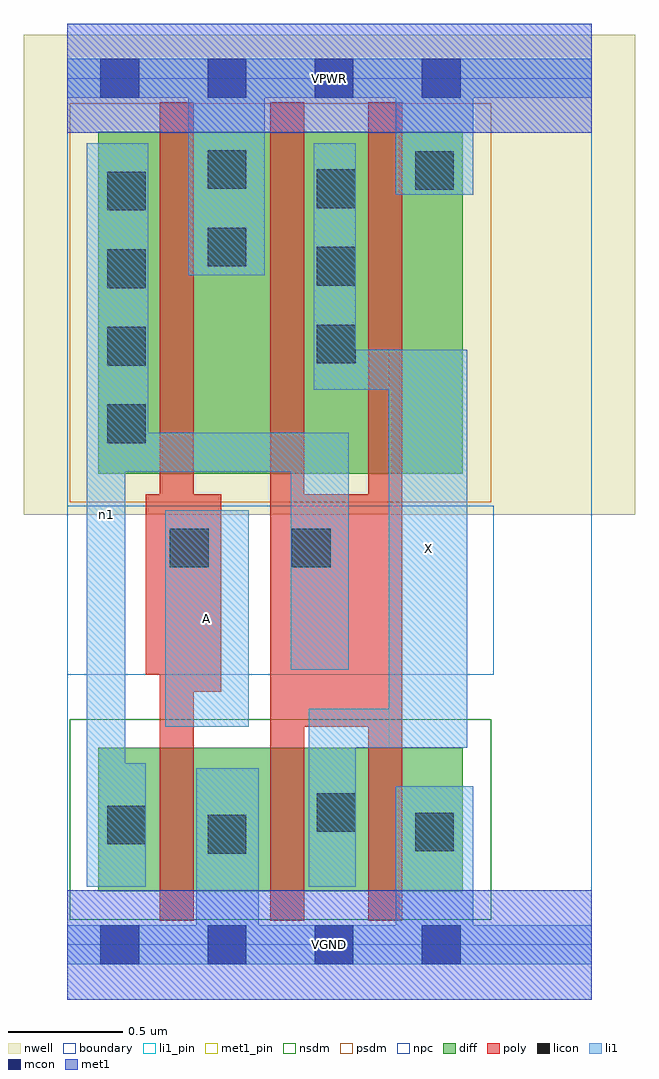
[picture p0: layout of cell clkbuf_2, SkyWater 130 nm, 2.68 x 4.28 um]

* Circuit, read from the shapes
.subckt clkbuf_2 A VGND VPWR X n1
XM1 VGND A n1 VSUBS sky130_fd_pr__nfet_01v8 w=0.63 l=0.15
XM2 X n1 VGND VSUBS sky130_fd_pr__nfet_01v8 w=0.63 l=0.15 m=2
XM3 VPWR A n1 n2 sky130_fd_pr__pfet_01v8 w=1.5 l=0.15
XM4 X n1 VPWR n2 sky130_fd_pr__pfet_01v8 w=1.5 l=0.15 m=2
.ends

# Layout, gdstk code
import gdstk
lib = gdstk.Library(unit=1e-6, precision=1e-09)
def R(c, l, rs):  # rectangles x0, y0, x1, y1
    for r in rs: c.add(gdstk.rectangle(r[:2], r[2:], *l))
def A(c, l, x, y, w, h, nx, ny, dx, dy):  # array of equal rectangles
    R(c, l, [(x+i*dx, y+j*dy, x+i*dx+w, y+j*dy+h) for i in range(nx) for j in range(ny)])
nwell = (64, 20)
diff = (65, 20)
poly = (66, 20)
licon = (66, 44)
li1_pin = (67, 16)
li1 = (67, 20)
mcon = (67, 44)
met1_pin = (68, 16)
met1 = (68, 20)
nsdm = (93, 44)
psdm = (94, 20)
npc = (95, 20)
boundary = (235, 4)

clkbuf_2 = lib.new_cell('clkbuf_2')
R(clkbuf_2, nwell, [(-0.19,1.885,2.49,3.99), (0,1.885,2.3,3.99)])
R(clkbuf_2, diff, [(0.135,0.235,1.735,0.865), (0.135,2.065,1.735,3.565)])
R(clkbuf_2, poly, [(0.405,0.105,0.555,3.695), (0.89,0.105,1.04,3.695), (1.32,0.105,1.47,3.695), (0.89,0.955,1.47,1.975), (0.405,1.11,0.675,1.975), (0.345,1.185,0.675,1.975)])
A(clkbuf_2, licon, 0.175, 2.2, 0.17, 0.17, 1, 4, 0, 0.34)
A(clkbuf_2, licon, 1.095, 2.55, 0.17, 0.17, 1, 3, 0, 0.34)
R(clkbuf_2, licon, [(0.615,0.4,0.785,0.57), (1.525,0.41,1.695,0.58), (0.175,0.44,0.345,0.61), (1.095,0.495,1.265,0.665), (0.45,1.655,0.62,1.825), (0.985,1.655,1.155,1.825), (0.615,2.975,0.785,3.145), (1.525,3.31,1.695,3.48), (0.615,3.315,0.785,3.485)])
R(clkbuf_2, li1_pin, [(1.41,0.865,1.755,2.61), (0.43,0.955,0.795,1.905)])
R(clkbuf_2, li1, [(0,-0.085,2.3,0.085), (0.565,-0.085,0.84,0.775), (1.44,-0.085,1.78,0.695), (0.085,0.255,0.255,3.515), (0.085,0.255,0.345,0.795), (1.06,0.255,1.265,1.035), (1.06,0.865,1.755,1.035), (1.41,0.865,1.755,2.61), (0.43,0.955,0.795,1.905), (0.98,1.205,1.235,2.245), (0.085,2.075,1.235,2.245), (0.085,2.075,0.355,3.515), (1.08,2.435,1.265,3.515), (1.08,2.435,1.755,2.61), (0.53,2.935,0.865,3.885), (1.44,3.29,1.78,3.885), (0,3.715,2.3,3.885)])
A(clkbuf_2, mcon, 0.145, -0.085, 0.17, 0.17, 4, 2, 0.47, 3.8)
R(clkbuf_2, met1_pin, [(0,-0.24,2.3,0.24), (0,3.56,2.3,4.04)])
R(clkbuf_2, met1, [(0,-0.24,2.3,0.24), (0,3.56,2.3,4.04)])
R(clkbuf_2, nsdm, [(0.01,0.11,1.86,0.99)])
R(clkbuf_2, psdm, [(0.01,1.94,1.86,3.69)])
R(clkbuf_2, npc, [(0,1.185,1.87,1.925)])
R(clkbuf_2, boundary, [(0,0,2.3,3.8)])
clkbuf_2.add(gdstk.Label('A', (0.612,1.43), layer=67, texttype=5))
clkbuf_2.add(gdstk.Label('X', (1.582,1.737), layer=67, texttype=5))
clkbuf_2.add(gdstk.Label('n1', (0.17,1.885), layer=67, texttype=5))
clkbuf_2.add(gdstk.Label('VPWR', (1.15,3.8), layer=68, texttype=5))
clkbuf_2.add(gdstk.Label('VGND', (1.15,0), layer=68, texttype=5))
clkbuf_2.add(gdstk.Label('A', (0.612,1.43), layer=67, texttype=16))
clkbuf_2.add(gdstk.Label('X', (1.582,1.737), layer=67, texttype=16))
clkbuf_2.add(gdstk.Label('VPWR', (1.15,3.8), layer=68, texttype=16))
clkbuf_2.add(gdstk.Label('VGND', (1.15,0), layer=68, texttype=16))

lib.write_gds('clkbuf_2.gds')
